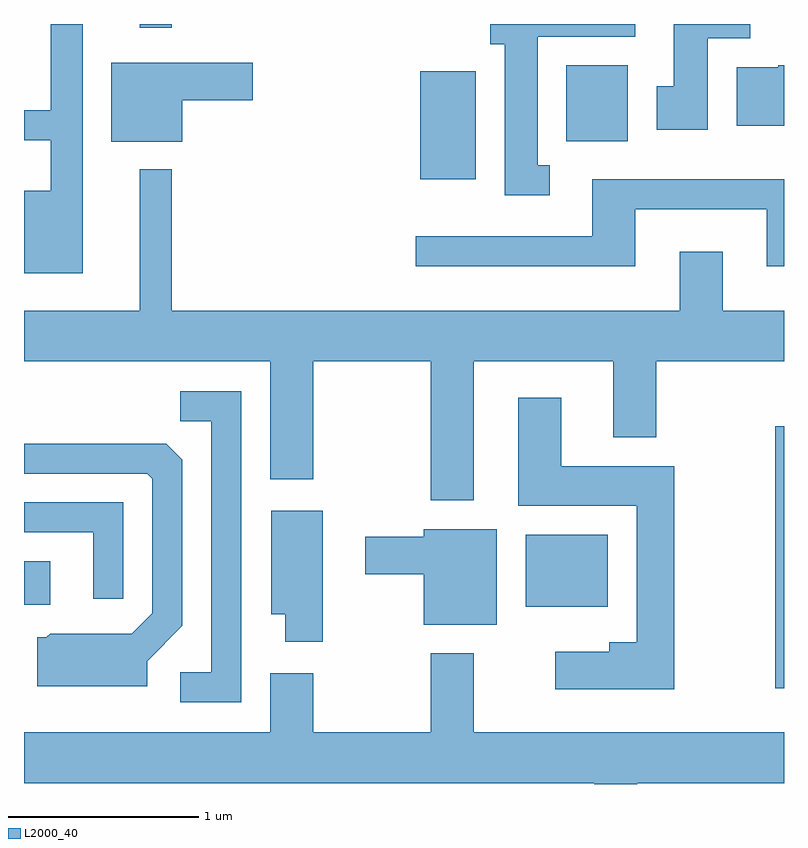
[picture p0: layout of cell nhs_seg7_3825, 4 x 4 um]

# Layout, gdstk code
import gdstk
lib = gdstk.Library(unit=1e-6, precision=1e-09)
def R(c, l, rs):  # rectangles x0, y0, x1, y1
    for r in rs: c.add(gdstk.rectangle(r[:2], r[2:], *l))
def P(c, l, *ps):  # polygons
    for p in ps: c.add(gdstk.Polygon(p, *l))
L2000_40 = (2000, 40)

nhs_seg7_3825 = lib.new_cell('nhs_seg7_3825')
R(nhs_seg7_3825, L2000_40, [(305.566,1774.756,305.611,1776.134), (304.251,1775.186,304.684,1775.564), (301.611,1775.196,301.749,1775.424), (303.696,1777.436,303.989,1778.004), (304.466,1777.636,304.789,1778.034), (302.221,1778.233,302.389,1778.252)])
P(nhs_seg7_3825, L2000_40, [(304.378,1777.509),(304.314,1777.509),(304.314,1778.186),(304.829,1778.186),(304.829,1778.252),(304.066,1778.252),(304.066,1778.146),(304.141,1778.146),(304.141,1777.351),(304.378,1777.351)],
  [(305.209,1778.176),(305.434,1778.176),(305.434,1778.252),(305.031,1778.252),(305.031,1777.924),(304.941,1777.924),(304.941,1777.696),(305.209,1777.696)],
  [(301.919,1778.252),(301.751,1778.252),(301.751,1777.799),(301.611,1777.799),(301.611,1777.641),(301.751,1777.641),(301.751,1777.374),(301.611,1777.374),(301.611,1776.941),(301.919,1776.941)],
  [(302.444,1777.851),(302.814,1777.851),(302.814,1778.049),(302.071,1778.049),(302.071,1777.631),(302.444,1777.631)],
  [(305.611,1778.034),(305.58,1778.034),(305.58,1778.024),(305.361,1778.024),(305.361,1777.716),(305.611,1777.716)],
  [(303.979,1776.476),(304.711,1776.476),(304.711,1776.076),(304.939,1776.076),(304.939,1776.476),(305.611,1776.476),(305.611,1776.744),(305.289,1776.744),(305.289,1777.054),(305.061,1777.054),(305.061,1776.744),(302.389,1776.744),(302.389,1777.488),(302.221,1777.488),(302.221,1776.744),(301.611,1776.744),(301.611,1776.476),(302.906,1776.476),(302.906,1775.856),(303.134,1775.856),(303.134,1776.476),(303.751,1776.476),(303.751,1775.746),(303.979,1775.746)],
  [(304.829,1777.276),(305.521,1777.276),(305.521,1776.976),(305.611,1776.976),(305.611,1777.434),(304.601,1777.434),(304.601,1777.134),(303.673,1777.134),(303.673,1776.976),(304.829,1776.976)],
  [(302.754,1776.319),(302.433,1776.319),(302.433,1776.161),(302.596,1776.161),(302.596,1774.839),(302.433,1774.839),(302.433,1774.681),(302.754,1774.681)],
  [(305.034,1775.924),(304.439,1775.924),(304.439,1776.284),(304.211,1776.284),(304.211,1775.716),(304.836,1775.716),(304.836,1774.999),(304.691,1774.999),(304.691,1774.949),(304.406,1774.949),(304.406,1774.751),(305.034,1774.751)],
  [(302.259,1774.899),(302.444,1775.084),(302.444,1775.959),(302.359,1776.044),(301.611,1776.044),(301.611,1775.886),(302.259,1775.886),(302.286,1775.859),(302.286,1775.152),(302.179,1775.044),(301.749,1775.044),(301.729,1775.024),(301.681,1775.024),(301.681,1774.766),(302.259,1774.766)],
  [(302.134,1775.734),(301.611,1775.734),(301.611,1775.576),(301.976,1775.576),(301.976,1775.228),(302.134,1775.228)],
  [(303.184,1775.689),(302.911,1775.689),(302.911,1775.146),(302.986,1775.146),(302.986,1775.001),(303.184,1775.001)],
  [(304.099,1775.594),(303.716,1775.594),(303.716,1775.554),(303.406,1775.554),(303.406,1775.356),(303.716,1775.356),(303.716,1775.091),(304.099,1775.091)],
  [(304.839,1774.256),(305.611,1774.256),(305.611,1774.524),(303.979,1774.524),(303.979,1774.939),(303.751,1774.939),(303.751,1774.524),(303.134,1774.524),(303.134,1774.834),(302.906,1774.834),(302.906,1774.524),(301.611,1774.524),(301.611,1774.256),(304.611,1774.256),(304.611,1774.252),(304.839,1774.252)])

lib.write_gds('nhs_seg7_3825.gds')
